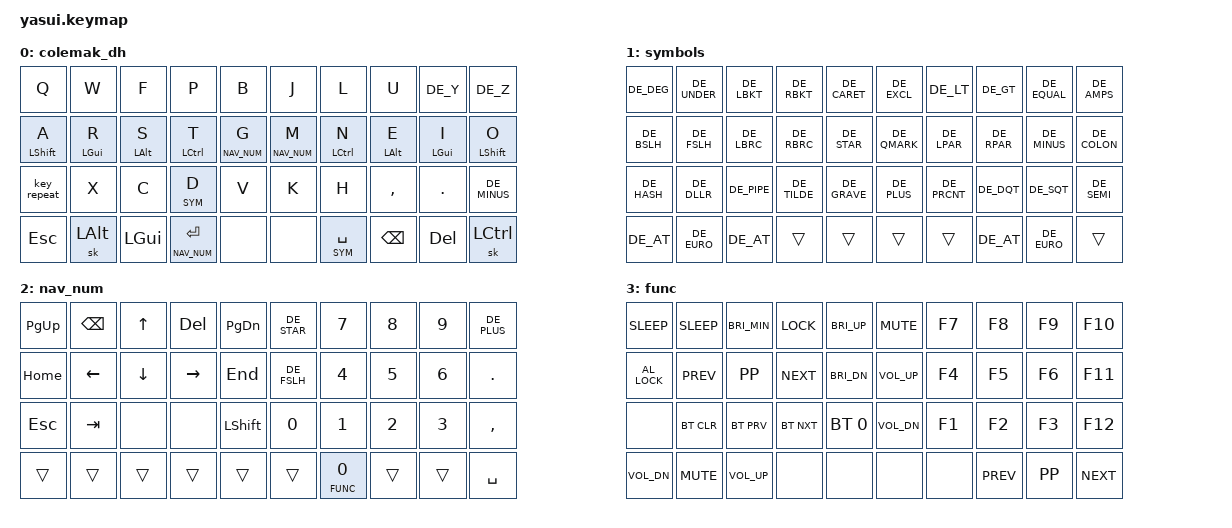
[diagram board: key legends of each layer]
/*
 * Copyright (c) 2020 The ZMK Contributors
 *
 * SPDX-License-Identifier: MIT
 */

#include <behaviors.dtsi>
#include <dt-bindings/zmk/keys.h>
#include <dt-bindings/zmk/bt.h>
#include <dt-bindings/zmk/ext_power.h>
#include <dt-bindings/zmk/outputs.h>

// Thanks to auipga from the ZMK Discord for providing this.
#include "keymap-german-rev3.h"

// Layer Definitions
#define COLEMAK_DH 0
#define SYM 1
#define NAV_NUM 2
#define FUNC 3


// Behavior configuration
&mt {
    tapping-term-ms = <175>;
    flavor = "tap-preferred";
};
&lt {
    tapping-term-ms = <175>;
    flavor = "tap-preferred";
};
&sk {
    release-after-ms = <500>;
    quick-release;
};

/ {
    behaviors {
        slt: sticky_layer_tap {
            compatible = "zmk,behavior-hold-tap";
            label = "STICKY_LAYER_TAP";
            #binding-cells = <2>;
            tapping_term_ms = <200>;
            quick_tap_ms = <0>;
            flavor = "tap-preferred";
            bindings = <&mo>, <&sk>;
        };
    };

    combos {
        compatible = "zmk,combos";
        combo_esc {
            timeout-ms = <30>;
            key-positions = <1 2>;  // wf
            layers = <0>;
            bindings = <&kp ESC>;
        };
        combo_tab {
            timeout-ms = <30>;
            key-positions = <12 13>;
            layers = <0 1>;
            bindings = <&kp TAB>;
        };
        combo_ae {
            timeout-ms = <40>;
            key-positions = <10 11>;
            layers = <0>;
            bindings = <&kp DE_AE>;
        };
        combo_ue {
            timeout-ms = <40>;
            key-positions = <7 8>;  // uy
            layers = <0>;
            bindings = <&kp DE_UE>;
        };
        combo_ss {
            timeout-ms = <40>;
            key-positions = <11 12>;
            layers = <0>;
            bindings = <&kp DE_SS>;
        };
        combo_unds {
            timeout-ms = <30>;
            key-positions = <16 17>;  // ne
            layers = <0 1 2>;
            bindings = <&kp DE_UNDER>;
        };
        combo_mins {
            timeout-ms = <30>;
            key-positions = <17 18>;  // ei
            layers = <0 1 2>;
            bindings = <&kp DE_MINUS>;
        };
        combo_oe {
            timeout-ms = <40>;
            key-positions = <18 19>;  // io
            layers = <0>;
            bindings = <&kp DE_OE>;
        };
        combo_at {
            timeout-ms = <40>;
            key-positions = <26 27>;  // h,
            layers = <0 1>;
            bindings = <&kp DE_AT>;
        };
    };

// TODO: fix visual representation
       keymap {
              compatible = "zmk,keymap";

        colemak_dh {
// .----------------------------------------------------------------------------------------------------------------------.
// ||  Q   |   W  |   F   |  P    |  B   |                   |#|                   |  J   |   L   |   U   |  Y   |  Z    ||
// ||A/LSFT|R/LGUI|S/LALT |T/LCTRL|  G   |                   |#|                   |  M   |N/LCTRL|E/LALT |I/LGUI|O/LSFT ||
// ||repeat|   X  |   C   |   D   |  V   |FUNC/ESC |  ESC    |#|    F5   | FUNC/F5 |  K   |   H   |  ,    |  .   |  - _  ||
//                | Play  | LGUI  | LALT | RET/sym |  -----  |#| ------- |SPACE/SFT| BSPC | DEL   |   :   |
            bindings = <
&kp Q       &kp W      &kp F      &kp P           &kp B          /**/ &kp J         &kp L            &kp U        &kp DE_Y   &kp DE_Z
&mt LSHFT A &mt LGUI R &mt LALT S &mt LCTRL T     &lt NAV_NUM G  /**/ &lt NAV_NUM M &mt LCTRL N      &mt LALT E   &mt LGUI I &mt LSHFT O
&key_repeat &kp X      &kp C      &lt SYM D       &kp V          /**/ &kp K         &kp H            &kp COMMA    &kp DOT    &kp DE_MINUS
&kp ESC    &sk LALT   &kp LGUI   &lt NAV_NUM RET  &none          /**/ &none         &lt SYM SPACE    &kp BSPC     &kp DEL    &sk LCTRL
            >;
        };


        symbols {
// .------------------------------------------------------------------------------------------------------.
// ||  °  |   _ |  [  |  ]  |  ^  |                  |#|                  |   !  |  <  |  >  |  =  |  &  ||
// ||  \  | /   |  {  |  }  |  *  |                  |#|                  |   ?  |  (  |  )  |  -  |  :  ||
// ||  #  |  $  |  |  |  ~  |  `  |   FUNC  |   FUNC |#|  FUNC  |   FUNC  |   +  |  %  |  "  |  '  |  ;  ||
//              |  @  |  €  |  @  |  SPACE  |   ESC  |#|  RET   |  SPACE  |      |  @  |  €  |

            bindings = <
&kp DE_DEG &kp DE_UNDER &kp DE_LBKT &kp DE_RBKT  &kp DE_CARET   /**/  &kp DE_EXCL  &kp DE_LT    &kp DE_GT   &kp DE_EQUAL &kp DE_AMPS
&kp DE_BSLH &kp DE_FSLH &kp DE_LBRC &kp DE_RBRC  &kp DE_STAR    /**/  &kp DE_QMARK &kp DE_LPAR  &kp DE_RPAR &kp DE_MINUS &kp DE_COLON
&kp DE_HASH &kp DE_DLLR &kp DE_PIPE &kp DE_TILDE &kp DE_GRAVE   /**/  &kp DE_PLUS  &kp DE_PRCNT &kp DE_DQT  &kp DE_SQT   &kp DE_SEMI
&kp DE_AT   &kp DE_EURO  &kp DE_AT  &trans       &trans         /**/  &trans       &trans       &kp DE_AT   &kp DE_EURO  &trans
            >;
        };

        nav_num {
// .---------------------------------------------------------------------------------------------------------------------.
// || PgUp | Bksp |  up   |  del  | PgDn|                   |#|                   |   *   |  7   |  8   |   9   |   +   ||
// || home | left |  down | right | end |                   |#|                   |   /   |  4   |  5   |   6   |  ./:  ||
// ||  esc |  tab |       |       |shift|   FUNC  |   FUNC  |#|   FUNC  |   FUNC  |   0   |  1   |  2   |   3   |  ,/;  ||
//                |       |       |  0  |  SPACE  |   RET   |#|   RET   |    0    |       |  .   |  0   |

            bindings = <
&kp PG_UP &kp BSPC  &kp UP          &kp DEL        &kp PG_DN     /**/  &kp DE_STAR   &kp N7       &kp N8   &kp N9  &kp DE_PLUS
&kp HOME  &kp LEFT  &kp DOWN        &kp RIGHT      &kp END       /**/  &kp DE_FSLH   &kp N4       &kp N5   &kp N6  &kp DOT
&kp ESC   &kp TAB   &none           &none          &kp LSHFT     /**/  &kp N0        &kp N1       &kp N2   &kp N3  &kp CMMA
&trans    &trans    &trans          &trans         &trans        /**/  &trans        &lt FUNC N0  &trans   &trans  &kp SPACE
            >;
        };


        func {
// .-----------------------------------------------------------------------------------------------------------------------.
// || sleep | sleep|bri min| lock  |bri +|                   |#|                   | mute  |  F7  |  F8  |  F9   |  F10  ||
// || lock  | prev | play  | next  |bri -|                   |#|                   | vol + |  F4  |  F5  |  F6   |  F11  ||
// ||       |bt_clr|bt_prev| bt_nxt| bt 0|   ---   |   ---   |#|   ---   |   ---   | vol - |  F1  |  F2  |  F3   |  F12  ||
//                 | vol - | mute  |vol +|   ---   |   ---   |#|   ---   |   ---   |  prev | play | next |

      bindings = <
&kp K_SLEEP   &kp K_SLEEP &kp C_BRI_MIN &kp K_LOCK &kp C_BRI_UP /**/ &kp K_MUTE    &kp F7  &kp F8     &kp F9    &kp F10
&kp C_AL_LOCK &kp K_PREV  &kp K_PP      &kp K_NEXT &kp C_BRI_DN /**/ &kp K_VOL_UP  &kp F4  &kp F5     &kp F6    &kp F11
&none         &bt BT_CLR  &bt BT_PRV    &bt BT_NXT &bt BT_SEL 0 /**/ &kp K_VOL_DN  &kp F1  &kp F2     &kp F3    &kp F12
&kp K_VOL_DN  &kp K_MUTE  &kp K_VOL_UP  &none      &none        /**/ &none         &none   &kp K_PREV &kp K_PP  &kp K_NEXT
            >;
        };
    };
};
